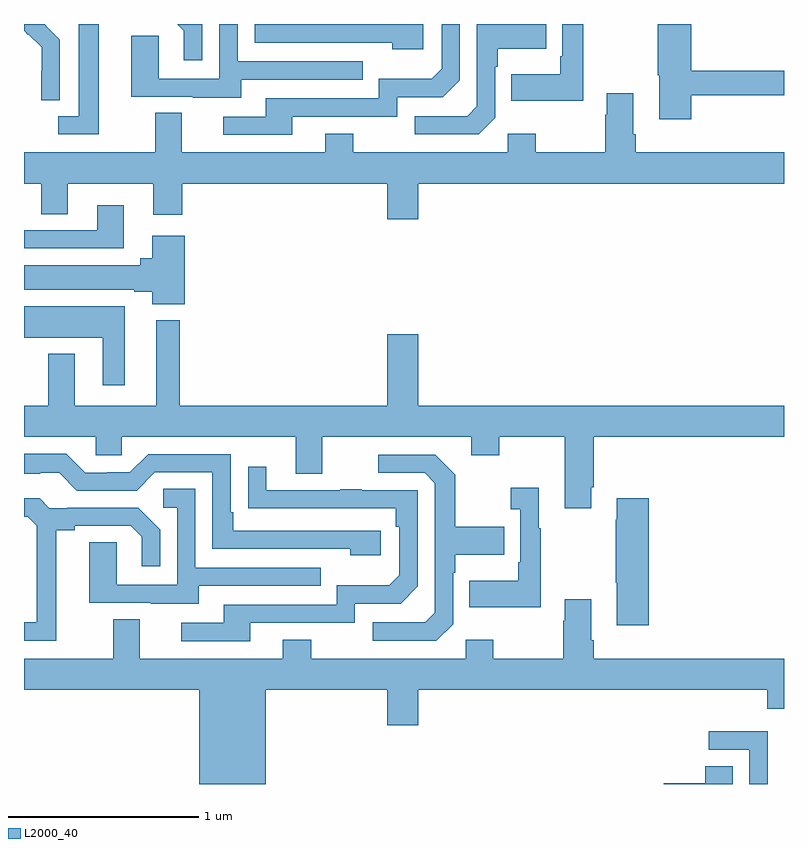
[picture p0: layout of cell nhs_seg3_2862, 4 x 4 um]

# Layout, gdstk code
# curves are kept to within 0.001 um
import gdstk
lib = gdstk.Library(unit=1e-6, precision=1e-09)
def P(c, l, *ps):  # polygons
    for p in ps: c.add(gdstk.Polygon(p, *l))
L2000_40 = (2000, 40)

nhs_seg3_2862 = lib.new_cell('nhs_seg3_2862')
P(nhs_seg3_2862, L2000_40, [(261.943,724.4),(261.834,724.4),(261.834,724.231),(261.822,724.231),(261.822,724.135),(261.565,724.135),(261.565,723.995),(261.943,723.995)],
  [(259.393,724.4),(259.289,724.4),(259.289,723.915),(259.179,723.915),(259.179,723.819),(259.393,723.819)],
  [(259.938,724.4),(259.806,724.4),(259.841,724.365),(259.841,724.209),(259.938,724.209)],
  [(259.188,724.318),(259.115,724.391),(259.116,724.392),(259.108,724.4),(259,724.4),(259,724.364),(259.02,724.344),(259.023,724.347),(259.094,724.277),(259.094,724.154),(259.092,724.154),(259.092,724),(259.188,724)],
  [(261.1,724.398),(260.323,724.398),(260.323,724.4),(260.214,724.4),(260.214,724.302),(260.939,724.302),(260.939,724.268),(261.1,724.268)],
  [(260.413,723.912),(260.964,723.912),(260.964,724.014),(261.204,724.014),(261.294,724.104),(261.294,724.4),(261.198,724.4),(261.198,724.164),(261.145,724.111),(260.868,724.111),(260.868,724.008),(260.273,724.008),(260.273,723.912),(260.049,723.912),(260.049,723.816),(260.413,723.816)],
  [(261.48,723.906),(261.48,724.175),(261.493,724.175),(261.493,724.271),(261.749,724.271),(261.749,724.4),(261.384,724.4),(261.384,723.966),(261.333,723.915),(261.057,723.915),(261.057,723.819),(261.393,723.819)],
  [(262.511,724.026),(263,724.026),(263,724.154),(262.511,724.154),(262.511,724.4),(262.336,724.4),(262.336,724.131),(262.343,724.131),(262.343,723.9),(262.511,723.9)],
  [(260.143,724.107),(260.783,724.107),(260.783,724.203),(260.124,724.203),(260.124,724.4),(260.028,724.4),(260.028,724.113),(259.71,724.113),(259.71,724.337),(259.565,724.337),(259.565,724.017),(259.889,724.017),(259.889,724.013),(260.143,724.013)],
  [(261.076,723.56),(263,723.56),(263,723.724),(262.22,723.724),(262.22,723.82),(262.207,723.82),(262.207,724.036),(262.067,724.036),(262.067,723.923),(262.06,723.923),(262.06,723.724),(261.693,723.724),(261.693,723.823),(261.546,723.823),(261.546,723.724),(260.733,723.724),(260.733,723.823),(260.585,723.823),(260.585,723.724),(259.831,723.724),(259.831,723.932),(259.691,723.932),(259.691,723.724),(259,723.724),(259,723.56),(259.091,723.56),(259.091,723.4),(259.231,723.4),(259.231,723.56),(259.679,723.56),(259.679,723.396),(259.832,723.396),(259.832,723.56),(260.912,723.56),(260.912,723.372),(261.076,723.372)],
  [(259.525,723.445),(259.385,723.445),(259.385,723.315),(259,723.315),(259,723.219),(259.525,723.219)],
  [(259.847,723.286),(259.676,723.286),(259.676,723.166),(259.613,723.166),(259.613,723.13),(259,723.13),(259,723.002),(259.58,723.002),(259.58,722.99),(259.676,722.99),(259.676,722.926),(259.847,722.926)],
  [(259.531,722.914),(259,722.914),(259,722.75),(259.415,722.75),(259.415,722.499),(259.531,722.499)],
  [(261.985,721.963),(261.998,721.963),(261.998,722.228),(263,722.228),(263,722.392),(261.076,722.392),(261.076,722.767),(260.912,722.767),(260.912,722.392),(259.819,722.392),(259.819,722.841),(259.697,722.841),(259.697,722.392),(259.267,722.392),(259.267,722.665),(259.127,722.665),(259.127,722.392),(259,722.392),(259,722.228),(259.377,722.228),(259.377,722.13),(259.515,722.13),(259.515,722.228),(260.429,722.228),(260.429,722.034),(260.569,722.034),(260.569,722.228),(261.353,722.228),(261.353,722.129),(261.501,722.129),(261.501,722.228),(261.845,722.228),(261.845,721.851),(261.985,721.851)],
  [(260.878,721.734),(260.101,721.734),(260.101,721.831),(260.088,721.831),(260.088,722.136),(259.653,722.136),(259.557,722.04),(259.439,722.04),(259.439,722.037),(259.323,722.037),(259.223,722.137),(259,722.137),(259,722.033),(259.085,722.033),(259.085,722.037),(259.185,722.037),(259.278,721.944),(259.593,721.944),(259.689,722.04),(259.992,722.04),(259.992,721.638),(260.717,721.638),(260.717,721.604),(260.878,721.604)],
  [(261.258,721.242),(261.258,721.511),(261.271,721.511),(261.271,721.607),(261.527,721.607),(261.527,721.755),(261.271,721.755),(261.271,722.027),(261.165,722.133),(260.865,722.133),(260.865,722.037),(261.108,722.037),(261.162,721.983),(261.162,721.302),(261.111,721.251),(260.835,721.251),(260.835,721.155),(261.171,721.155)],
  [(260.191,721.248),(260.742,721.248),(260.742,721.35),(260.982,721.35),(261.072,721.44),(261.072,721.947),(260.777,721.947),(260.777,721.952),(260.665,721.952),(260.665,721.947),(260.275,721.947),(260.275,722.071),(260.179,722.071),(260.179,721.852),(260.956,721.851),(260.956,721.754),(260.976,721.754),(260.976,721.5),(260.923,721.447),(260.646,721.447),(260.646,721.344),(260.051,721.344),(260.051,721.248),(259.827,721.248),(259.827,721.152),(260.191,721.152)],
  [(261.721,721.747),(261.709,721.747),(261.709,721.96),(261.561,721.96),(261.561,721.847),(261.612,721.847),(261.612,721.567),(261.6,721.567),(261.6,721.471),(261.343,721.471),(261.343,721.331),(261.721,721.331)],
  [(259.921,721.443),(260.561,721.443),(260.561,721.539),(259.902,721.539),(259.902,721.955),(259.734,721.955),(259.734,721.854),(259.806,721.854),(259.806,721.449),(259.488,721.449),(259.488,721.673),(259.343,721.673),(259.343,721.353),(259.667,721.353),(259.667,721.349),(259.921,721.349)],
  [(262.289,721.903),(262.121,721.903),(262.121,721.79),(262.114,721.79),(262.114,721.459),(262.121,721.459),(262.121,721.236),(262.289,721.236)],
  [(259.171,721.736),(259.267,721.736),(259.267,721.758),(259.562,721.758),(259.619,721.701),(259.619,721.545),(259.716,721.545),(259.716,721.738),(259.6,721.854),(259.228,721.854),(259.228,721.851),(259.134,721.851),(259.082,721.903),(259,721.903),(259,721.806),(259.02,721.806),(259.067,721.759),(259.067,721.251),(259,721.251),(259,721.155),(259.171,721.155)],
  [(260.272,720.896),(260.912,720.896),(260.912,720.708),(261.076,720.708),(261.076,720.896),(262.913,720.896),(262.913,720.797),(263,720.797),(263,721.06),(261.998,721.06),(261.998,721.156),(261.985,721.156),(261.985,721.372),(261.845,721.372),(261.845,721.259),(261.838,721.259),(261.838,721.06),(261.471,721.06),(261.471,721.159),(261.324,721.159),(261.324,721.06),(260.511,721.06),(260.511,721.159),(260.363,721.159),(260.363,721.06),(259.609,721.06),(259.609,721.268),(259.469,721.268),(259.469,721.06),(259,721.06),(259,720.896),(259.922,720.896),(259.922,720.4),(260.272,720.4)],
  [(262.914,720.678),(262.605,720.678),(262.605,720.579),(262.818,720.579),(262.818,720.4),(262.914,720.4)],
  [(262.729,720.494),(262.586,720.494),(262.586,720.404),(262.368,720.404),(262.368,720.4),(262.729,720.4)])

lib.write_gds('nhs_seg3_2862.gds')
